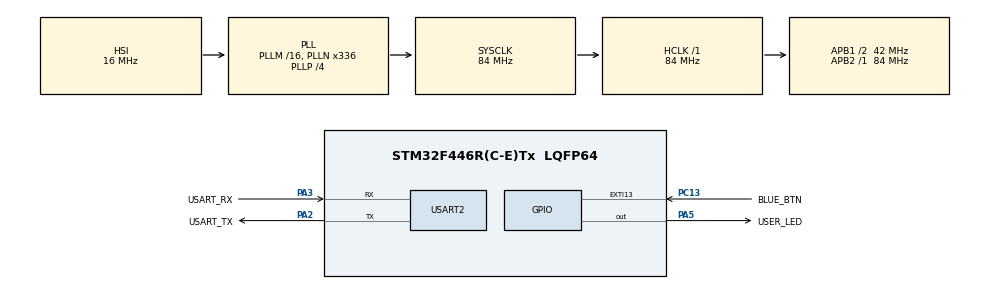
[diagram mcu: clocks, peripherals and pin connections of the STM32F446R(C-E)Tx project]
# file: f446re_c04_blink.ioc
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Mcu.Family=STM32F4
Mcu.Name=STM32F446R(C-E)Tx
Mcu.Package=LQFP64
NVIC.PriorityGroup=NVIC_PRIORITYGROUP_0
NVIC.USART2_IRQn=true\:0\:0\:false\:false\:true\:true\:true\:true
PA13.GPIO_Label=TMS
PA13.Mode=Serial_Wire
PA13.Signal=SYS_JTMS-SWDIO
PA14.GPIO_Label=TCK
PA14.Mode=Serial_Wire
PA14.Signal=SYS_JTCK-SWCLK
PA2.GPIO_Label=USART_TX
PA2.Mode=Asynchronous
PA2.Signal=USART2_TX
PA3.GPIO_Label=USART_RX
PA3.Mode=Asynchronous
PA3.Signal=USART2_RX
PA5.GPIO_Label=USER_LED
PA5.GPIO_ModeDefaultOutputPP=GPIO_MODE_OUTPUT_PP
PA5.GPIO_PuPd=GPIO_NOPULL
PA5.GPIO_Speed=GPIO_SPEED_FREQ_LOW
PA5.PinState=GPIO_PIN_RESET
PA5.Signal=GPIO_Output
PB3.GPIO_Label=SWO
PB3.Signal=SYS_JTDO-SWO
PC13.GPIO_Label=BLUE_BTN
PC13.GPIO_ModeDefaultEXTI=GPIO_MODE_IT_RISING_FALLING
PC13.GPIO_PuPd=GPIO_PULLDOWN
PC13.Signal=GPXTI13
PC14-OSC32_IN.Mode=LSE-External-Oscillator
PC14-OSC32_IN.Signal=RCC_OSC32_IN
PC15-OSC32_OUT.Mode=LSE-External-Oscillator
PC15-OSC32_OUT.Signal=RCC_OSC32_OUT
PH0-OSC_IN.Mode=HSE-External-Oscillator
PH0-OSC_IN.Signal=RCC_OSC_IN
PH1-OSC_OUT.Mode=HSE-External-Oscillator
PH1-OSC_OUT.Signal=RCC_OSC_OUT
ProjectManager.HeapSize=0x200
ProjectManager.StackSize=0x400
ProjectManager.TargetToolchain=STM32CubeIDE
RCC.48MHZClocksFreq_Value=84000000
RCC.AHBFreq_Value=84000000
RCC.APB1CLKDivider=RCC_HCLK_DIV2
RCC.APB1Freq_Value=42000000
RCC.APB1TimFreq_Value=84000000
RCC.APB2Freq_Value=84000000
RCC.APB2TimFreq_Value=84000000
RCC.CortexFreq_Value=84000000
RCC.FLatency-AdvancedSettings=FLASH_LATENCY_2
RCC.HCLKFreq_Value=84000000
RCC.HSE_VALUE=8000000
RCC.HSI_VALUE=16000000
RCC.PLLN=336
RCC.PLLP=RCC_PLLP_DIV4
RCC.SYSCLKFreq_VALUE=84000000
RCC.SYSCLKSource=RCC_SYSCLKSOURCE_PLLCLK
RCC.USBFreq_Value=168000000
RCC.VCOOutputFreq_Value=336000000
USART2.VirtualMode=VM_ASYNC
board=NUCLEO-F446RE

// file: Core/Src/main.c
/* USER CODE BEGIN Header */
/**
  ******************************************************************************
  * @file           : main.c
  * @brief          : Main program body
  ******************************************************************************
  * @attention
  *
  * Copyright (c) 2026 STMicroelectronics.
  * All rights reserved.
  *
  * This software is licensed under terms that can be found in the LICENSE file
  * in the root directory of this software component.
  * If no LICENSE file comes with this software, it is provided AS-IS.
  *
  ******************************************************************************
  */
/* USER CODE END Header */
#include "main.h"

/* USER CODE BEGIN Includes */
#include <stdio.h>

/* USER CODE END Includes */

UART_HandleTypeDef huart2;

void SystemClock_Config(void);
static void MX_GPIO_Init(void);
static void MX_USART2_UART_Init(void);

/* USER CODE BEGIN 0 */

// Send printf to uart1
int _write(int fd, char* ptr, int len) {
  HAL_StatusTypeDef hstatus;

  if (fd == 1 || fd == 2) {
    hstatus = HAL_UART_Transmit(&huart2, (uint8_t *) ptr, len, HAL_MAX_DELAY);
    if (hstatus == HAL_OK)
      return len;
    else
      return -1;
  }
  return -1;
}

/* USER CODE END 0 */

int main(void)
{

  /* MCU Configuration--------------------------------------------------------*/

  /* Reset of all peripherals, Initializes the Flash interface and the Systick. */
  HAL_Init();

  /* Configure the system clock */
  SystemClock_Config();

  /* Initialize all configured peripherals */
  MX_GPIO_Init();
  MX_USART2_UART_Init();
  /* USER CODE BEGIN 2 */
  printf("Starting blinking f446re\n\n");
  /* USER CODE END 2 */

  /* Infinite loop */
  /* USER CODE BEGIN WHILE */
  uint32_t now = 0, last_blink = 0, last_tick = 0;
  while (1)
  {
      now = HAL_GetTick();

      if(now - last_blink >= 500){
          HAL_GPIO_TogglePin(USER_LED_GPIO_Port, USER_LED_Pin);
          printf("Toggling GPIO\n");
          last_blink = now;
      }

      if (now - last_tick >= 1000){
          printf("Tick %lu\n",now);
          last_tick = now;
      }

      GPIO_PinState bluebtnpinstate = HAL_GPIO_ReadPin(GPIOC, BLUE_BTN_Pin);

      printf("Button state : %lu",bluebtnpinstate);

    /* USER CODE END WHILE */

    /* USER CODE BEGIN 3 */
    //HAL_Delay(300);
  }
  /* USER CODE END 3 */
}

void SystemClock_Config(void)
{
  RCC_OscInitTypeDef RCC_OscInitStruct = {0};
  RCC_ClkInitTypeDef RCC_ClkInitStruct = {0};

  /** Configure the main internal regulator output voltage
  */
  __HAL_RCC_PWR_CLK_ENABLE();
  __HAL_PWR_VOLTAGESCALING_CONFIG(PWR_REGULATOR_VOLTAGE_SCALE3);

  /** Initializes the RCC Oscillators according to the specified parameters
  * in the RCC_OscInitTypeDef structure.
  */
  RCC_OscInitStruct.OscillatorType = RCC_OSCILLATORTYPE_HSI;
  RCC_OscInitStruct.HSIState = RCC_HSI_ON;
  RCC_OscInitStruct.HSICalibrationValue = RCC_HSICALIBRATION_DEFAULT;
  RCC_OscInitStruct.PLL.PLLState = RCC_PLL_ON;
  RCC_OscInitStruct.PLL.PLLSource = RCC_PLLSOURCE_HSI;
  RCC_OscInitStruct.PLL.PLLM = 16;
  RCC_OscInitStruct.PLL.PLLN = 336;
  RCC_OscInitStruct.PLL.PLLP = RCC_PLLP_DIV4;
  RCC_OscInitStruct.PLL.PLLQ = 2;
  RCC_OscInitStruct.PLL.PLLR = 2;
  if (HAL_RCC_OscConfig(&RCC_OscInitStruct) != HAL_OK)
  {
    Error_Handler();
  }

  /** Initializes the CPU, AHB and APB buses clocks
  */
  RCC_ClkInitStruct.ClockType = RCC_CLOCKTYPE_HCLK|RCC_CLOCKTYPE_SYSCLK
                              |RCC_CLOCKTYPE_PCLK1|RCC_CLOCKTYPE_PCLK2;
  RCC_ClkInitStruct.SYSCLKSource = RCC_SYSCLKSOURCE_PLLCLK;
  RCC_ClkInitStruct.AHBCLKDivider = RCC_SYSCLK_DIV1;
  RCC_ClkInitStruct.APB1CLKDivider = RCC_HCLK_DIV2;
  RCC_ClkInitStruct.APB2CLKDivider = RCC_HCLK_DIV1;

  if (HAL_RCC_ClockConfig(&RCC_ClkInitStruct, FLASH_LATENCY_2) != HAL_OK)
  {
    Error_Handler();
  }
}

static void MX_USART2_UART_Init(void)
{

  huart2.Instance = USART2;
  huart2.Init.BaudRate = 115200;
  huart2.Init.WordLength = UART_WORDLENGTH_8B;
  huart2.Init.StopBits = UART_STOPBITS_1;
  huart2.Init.Parity = UART_PARITY_NONE;
  huart2.Init.Mode = UART_MODE_TX_RX;
  huart2.Init.HwFlowCtl = UART_HWCONTROL_NONE;
  huart2.Init.OverSampling = UART_OVERSAMPLING_16;
  if (HAL_UART_Init(&huart2) != HAL_OK)
  {
    Error_Handler();
  }

}

static void MX_GPIO_Init(void)
{
  GPIO_InitTypeDef GPIO_InitStruct = {0};

  /* GPIO Ports Clock Enable */
  __HAL_RCC_GPIOC_CLK_ENABLE();
  __HAL_RCC_GPIOH_CLK_ENABLE();
  __HAL_RCC_GPIOA_CLK_ENABLE();
  __HAL_RCC_GPIOB_CLK_ENABLE();

  /*Configure GPIO pin Output Level */
  HAL_GPIO_WritePin(USER_LED_GPIO_Port, USER_LED_Pin, GPIO_PIN_RESET);

  /*Configure GPIO pin : BLUE_BTN_Pin */
  GPIO_InitStruct.Pin = BLUE_BTN_Pin;
  GPIO_InitStruct.Mode = GPIO_MODE_IT_RISING_FALLING;
  GPIO_InitStruct.Pull = GPIO_PULLDOWN;
  HAL_GPIO_Init(BLUE_BTN_GPIO_Port, &GPIO_InitStruct);

  /*Configure GPIO pin : USER_LED_Pin */
  GPIO_InitStruct.Pin = USER_LED_Pin;
  GPIO_InitStruct.Mode = GPIO_MODE_OUTPUT_PP;
  GPIO_InitStruct.Pull = GPIO_NOPULL;
  GPIO_InitStruct.Speed = GPIO_SPEED_FREQ_LOW;
  HAL_GPIO_Init(USER_LED_GPIO_Port, &GPIO_InitStruct);

}

void Error_Handler(void)
{
  __disable_irq();
  while (1)
  {
  }
}
